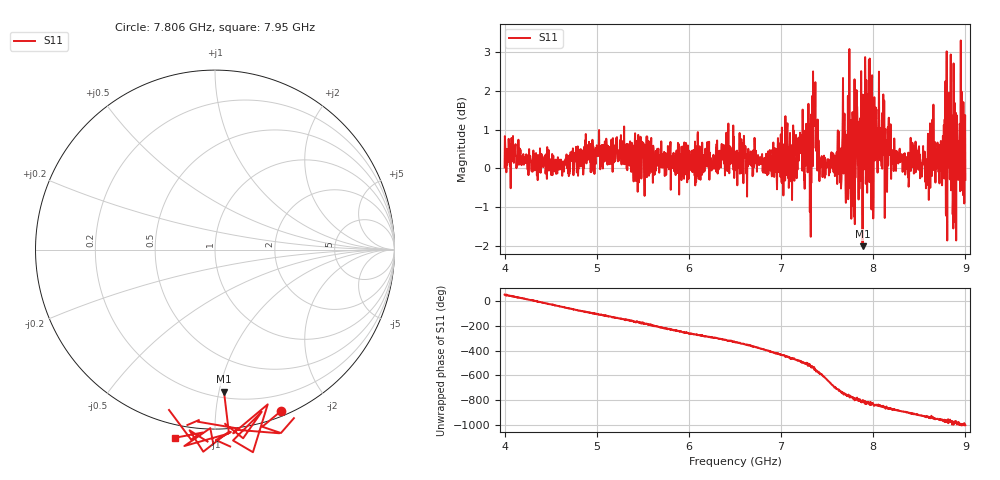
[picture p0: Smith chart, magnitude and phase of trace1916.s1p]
! Created with skrf 1.8.0 (http://scikit-rf.org).
# Hz S RI R 50.0
!freq ReS11 ImS11
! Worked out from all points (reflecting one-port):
!   1601 points, 4 GHz to 9 GHz, reference 50 ohm
!   lowest |S11| = -2.0 dB at 7.884 GHz (marker M1), VSWR 8.65, Z = 12.2 - j51.8 ohm
!   phase of S11 starts at 52 deg and turns -1054 deg over the sweep
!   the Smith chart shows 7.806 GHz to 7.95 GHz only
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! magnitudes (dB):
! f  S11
! 4 GHz  0.0
! 4.625 GHz  -0.2
! 5.25 GHz  0.3
! 5.875 GHz  0.1
! 6.5 GHz  0.4
! 7.125 GHz  0.5
! 7.222 GHz  0.7
! 7.284 GHz  0.5
! 7.303 GHz  0.1
! 7.356 GHz  1.8
! 7.438 GHz  0.1
! 7.631 GHz  0.0
! 7.688 GHz  1.4
! 7.75 GHz  0.4
! 7.788 GHz  -0.2
! 7.822 GHz  0.5
! 7.884 GHz  -2.0
! 7.962 GHz  2.8
! 7.981 GHz  -1.1
! 8.038 GHz  0.9
! 8.375 GHz  0.1
! 8.588 GHz  -0.1
! 8.647 GHz  0.4
! 8.766 GHz  1.1
! 8.819 GHz  0.0
! 8.875 GHz  0.0
! 8.959 GHz  2.0
! 9 GHz  -0.3
